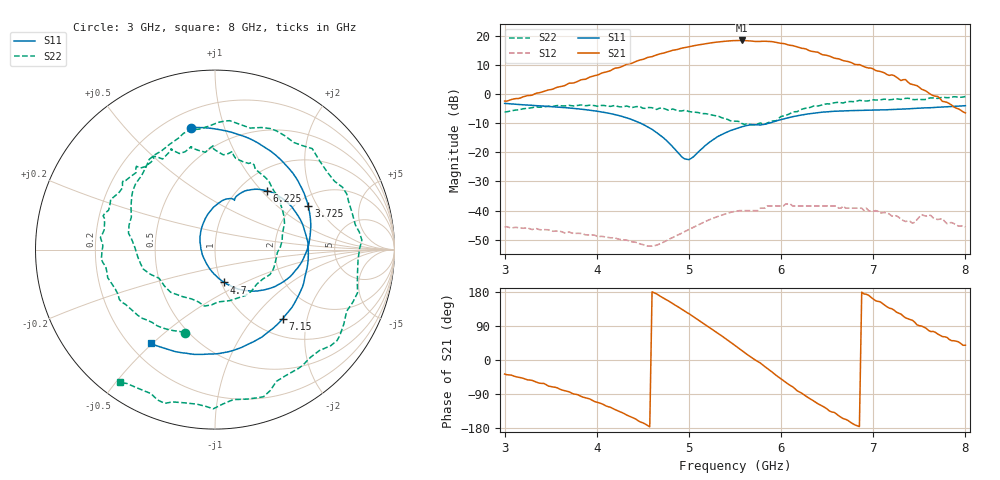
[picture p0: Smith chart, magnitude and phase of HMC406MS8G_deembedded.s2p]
!Hittite Microwave Corporation
!12 Elizabeth Drive
!Chelmsford, MA 01824
!Tel: 978-250-3343
!Fax: 978-250-3373
!Device: HMC406MS8G, 5-6 GHz GaAs InGap HBT MMIC Power Amplifier in 8-lead Grounded Base surface Mount Plastic Package
!Misc: Input reference is the input pin of the device, output reference is the last component on output line, Vs=Vpd=5V, Room
# MHZ S MA R 50
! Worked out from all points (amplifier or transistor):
!   201 points, 3 GHz to 8 GHz, reference 50 ohm
!   highest |S21| = 18.4 dB at 5.575 GHz (marker M1)
!   |S21| within 3 dB of that: 4.885 GHz to 6.276 GHz (1.391 GHz wide, 24.9 % of centre)
!   unconditionally stable (mu >= 1): start of sweep to end of sweep
!   at 3.825 GHz: K = 27.97, MAG = 8.9 dB, |S12| = -47.8 dB
!   at 5.5 GHz: K = 5.20, MAG = 19.2 dB, |S12| = -40.3 dB
!   at 8 GHz: K = 20.42, MAG = 3.5 dB, |S12| = -45.6 dB
!   S11 on the Smith chart (normalised r, x): 3 GHz: 0.30, +0.78; 3.725 GHz: 2.33, +1.67; 4.7 GHz: 1.03, -0.39; 6.225 GHz: 1.33, +1.07; 7.15 GHz: 1.33, -1.44; 8 GHz: 0.28, -0.49
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3000  0.692 101.3  0.759 -37.1  0.005264 15.8  0.492 -110.0
3725  0.573 24.8  1.542 -87.2  0.004147 -36.2  0.633 172.0
3850  0.547 12.9  1.785 -97.9  0.003974 -42.0  0.646 161.7
4325  0.392 -31.7  3.254 -145.3  0.003111 -59.2  0.624 123.5
4675  0.204 -70.8  4.849 170.4  0.00265 -40.4  0.568 92.7
4700  0.19 -74.4  4.968 166.6  0.002756 -38.9  0.578 91.0
4925  0.083 -132.6  6.157 133.6  0.004117 -35.2  0.515 68.8
5175  0.13 127.3  7.32 93.9  0.006474 -46.9  0.462 40.7
5350  0.2 101.6  7.964 64.6  0.008294 -62.1  0.397 16.5
5500  0.251 88.0  8.295 38.3  0.009712 -77.7  0.343 -16.6
5575  0.275 81.8  8.332 24.9  0.01 -86.6  0.313 -31.6
5800  0.299 68.6  8.068 -12.9  0.011 -103.6  0.306 -107.3
5950  0.347 65.4  7.705 -41.2  0.012 -121.8  0.35 -152.8
6050  0.383 60.1  7.247 -58.8  0.013 -132.8  0.431 -173.9
6225  0.438 48.3  6.102 -87.7  0.012 -151.1  0.55 147.5
6350  0.469 38.2  5.36 -107.5  0.012 -163.3  0.622 126.1
6650  0.513 9.3  3.886 -151.1  0.011 170.1  0.711 78.6
6900  0.524 -17.5  2.964 174.4  0.01 148.7  0.764 40.1
7150  0.539 -45.4  2.161 140.2  0.009085 123.4  0.805 0.2
7175  0.541 -48.3  2.095 136.8  0.008725 119.6  0.799 -4.1
7475  0.571 -80.0  1.395 92.8  0.007001 122.1  0.809 -52.9
8000  0.632 -124.4  0.475 38.9  0.005234 60.1  0.909 -125.5
